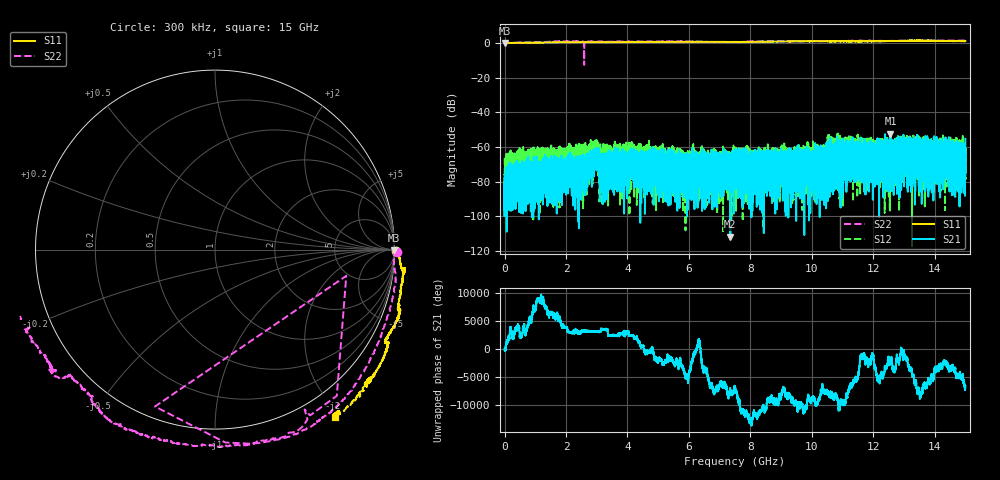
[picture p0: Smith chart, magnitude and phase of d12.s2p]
!Agilent Technologies,N5230C,SG49000117,A.08.50.07
!Agilent N5230C: A.08.50.07
!Date: Friday, May 17, 2024 07:56:28
!Correction: S11(Full 2 Port(1,2))
!S21(Full 2 Port(1,2))
!S12(Full 2 Port(1,2))
!S22(Full 2 Port(1,2))
!S2P File: Measurements: S11, S21, S12, S22:
# Hz S  MA  R 50
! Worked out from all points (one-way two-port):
!   20001 points, 300 kHz to 15 GHz, reference 50 ohm
!   highest |S21| = -52.38 dB at 12.56 GHz (marker M1); lowest = -111.8 dB at 7.346 GHz (marker M2)
!   lowest |S11| = 0.0 dB at 21.3 MHz (marker M3)
!   |S11| at or under -10 dB: nowhere
!   |S22| runs from -12.6 to 1.5 dB; largest |S21 - S12| = 0.0033
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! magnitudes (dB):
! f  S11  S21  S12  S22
! 300 kHz  0.1  -84.0  -66.1  0.1
! 21.3 MHz  0.0  -83.5  -72.1  0.0
! 1.941 GHz  0.5  -70.5  -65.5  0.9
! 2.102 GHz  0.5  -67.0  -65.5  1.0
! 2.501 GHz  0.5  -67.7  -65.3  1.0
! 2.992 GHz  0.5  -63.5  -59.7  0.8
! 3.125 GHz  0.5  -68.9  -64.5  0.8
! 3.32 GHz  0.5  -67.2  -61.7  0.8
! 3.98 GHz  0.5  -67.2  -70.9  0.8
! 4.144 GHz  0.6  -66.4  -67.0  0.8
! 4.36 GHz  0.6  -69.7  -65.8  0.9
! 5 GHz  0.7  -75.0  -65.5  0.9
! 6.596 GHz  0.7  -72.0  -72.1  0.6
! 7.346 GHz  0.6  -111.8  -67.5  0.6
! 7.5 GHz  0.7  -65.6  -64.6  0.6
! 10 GHz  1.0  -79.8  -63.5  1.1
! 10.42 GHz  1.0  -80.0  -63.7  1.1
! 10.58 GHz  1.0  -69.5  -57.2  1.2
! 12.5 GHz  1.2  -61.8  -69.8  1.2
! 12.56 GHz  1.1  -52.4  -67.7  1.3
! 14.92 GHz  1.1  -61.4  -65.2  1.4
! 15 GHz  1.1  -55.2  -66.1  1.5
